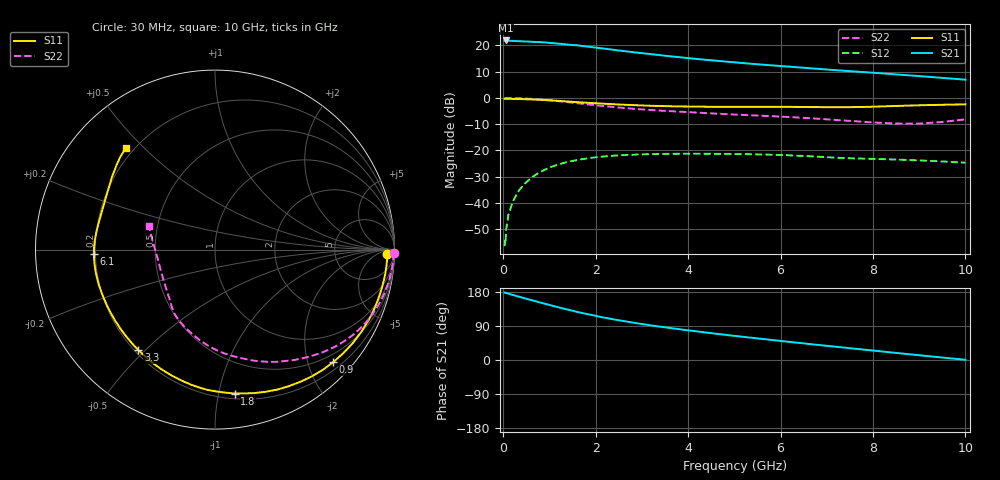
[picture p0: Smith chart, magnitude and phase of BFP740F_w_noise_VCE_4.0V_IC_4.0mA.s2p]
! Infineon Technologies  Discrete & RF Semiconductors
! BFP740F
! VCE =  4.0 V,  IC =  4.0 mA
! Common Emitter S-Parameters:  Oct 2012
# GHz  S  MA  R  50
!  f  S11  S21  S12  S22
! GHz  MAG  ANG  MAG  ANG  MAG  ANG  MAG  ANG
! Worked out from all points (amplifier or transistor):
!   99 points, 30 MHz to 10 GHz, reference 50 ohm
!   highest |S21| = 21.9 dB at 50 MHz (marker M1)
!   |S21| within 3 dB of that: start of sweep to 2.137 GHz
!   unconditionally stable (mu >= 1): 7.885 GHz to end of sweep
!   at 350 MHz: K = 0.05, MSG = 28.3 dB, |S12| = -35.0 dB
!   at 3.5 GHz: K = 0.30, MSG = 18.7 dB, |S12| = -21.3 dB
!   at 10 GHz: K = 1.27, MAG = 12.7 dB, |S12| = -24.7 dB
!   lowest NFmin = 0.36 dB at 450 MHz
!   S11 on the Smith chart (normalised r, x): 30 MHz: 35, -23; 900 MHz: 0.34, -2.45; 1.8 GHz: 0.24, -1.12; 3.3 GHz: 0.21, -0.48; 6.1 GHz: 0.19, -0.02; 10 GHz: 0.17, +0.44
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0.03  0.9608 -1.5  12.3 177.9  0.0015 78.2  0.9952 -1.0
0.05  0.96 -2.5  12.41 177.4  0.0017 87.2  0.9943 -1.7
0.06  0.9593 -3.0  12.36 177.1  0.003 81.5  0.9954 -1.9
0.11  0.9594 -5.5  12.32 175.2  0.006 80.0  0.994 -3.6
0.25  0.9545 -12.4  12.1 170.2  0.0125 81.0  0.9879 -8.2
0.5  0.9419 -24.6  11.87 161.8  0.0248 73.9  0.9692 -16.3
0.9  0.9093 -43.7  11.39 148.5  0.0429 62.4  0.9185 -28.9
1.3  0.8649 -61.6  10.57 135.8  0.0574 51.1  0.8477 -40.8
1.6  0.8293 -74.6  10.04 126.9  0.0655 43.7  0.7924 -48.9
1.7  0.8181 -78.3  9.765 124.2  0.068 41.4  0.7749 -51.5
1.8  0.8093 -82.2  9.545 121.6  0.07 39.2  0.7578 -54.2
2.2  0.7731 -96.6  8.65 111.5  0.0769 30.7  0.6948 -64.2
2.5  0.7488 -105.9  7.997 104.9  0.0805 25.5  0.6567 -70.5
2.9  0.7234 -117.3  7.273 96.9  0.0834 19.4  0.6138 -78.1
3.3  0.7038 -127.4  6.649 89.6  0.0853 14.1  0.5811 -84.8
3.4  0.7002 -129.8  6.509 87.8  0.0854 12.8  0.5727 -86.4
4.2  0.6805 -146.6  5.505 75.3  0.0864 4.3  0.5235 -96.8
5.1  0.6765 -162.9  4.671 62.4  0.0852 -3.9  0.4777 -107.4
6.1  0.6754 -178.1  3.981 49.0  0.0812 -11.7  0.4352 -119.0
6.7  0.6684 172.4  3.63 41.3  0.0769 -15.7  0.4069 -125.6
8.5  0.7019 144.9  2.801 18.7  0.067 -20.4  0.3248 -157.4
10  0.7534 131.3  2.221 0.6  0.0583 -23.3  0.3902 160.6
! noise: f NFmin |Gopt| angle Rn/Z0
0.45  0.36  0.43  8  0.21
0.9  0.42  0.43  14  0.18
1.5  0.5  0.42  25  0.15
1.9  0.56  0.41  34  0.14
2.4  0.63  0.38  43  0.14
3.5  0.79  0.35  66  0.13
5.5  1.07  0.25  111  0.22
10  1.64  0.44  -130  0.08
